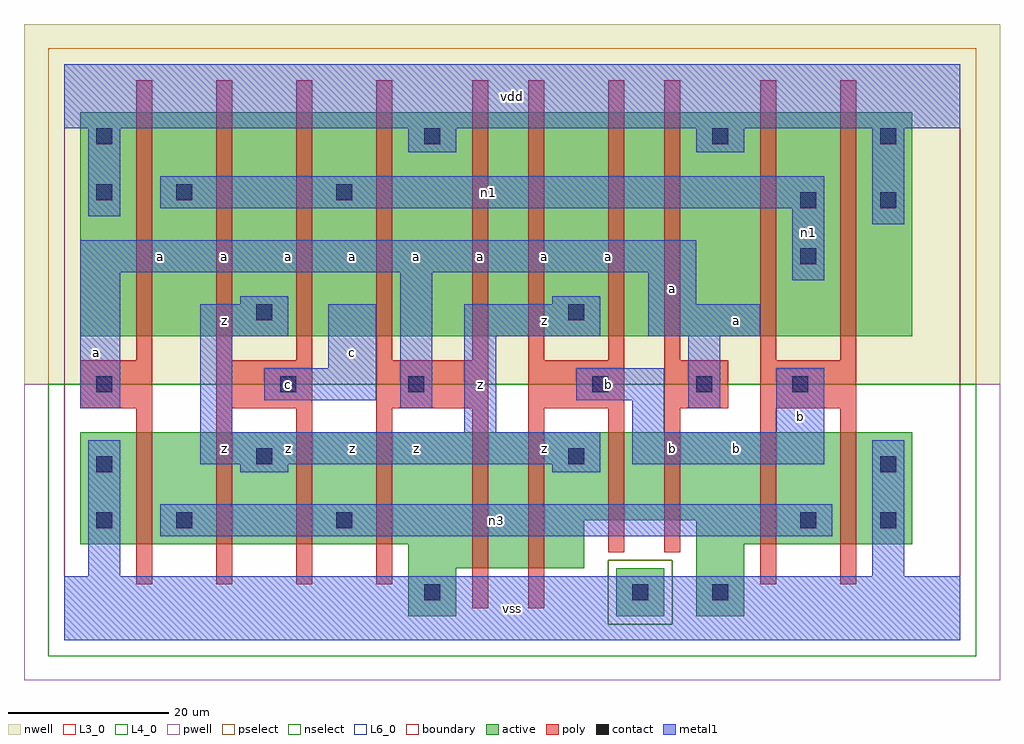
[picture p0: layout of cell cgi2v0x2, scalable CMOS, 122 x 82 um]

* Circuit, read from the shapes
.subckt cgi2v0x2 a b c n1 n3 vdd vss z
M1 n3 a vss vss nfet w=14u l=2u m=2
M2 z c n3 vss nfet w=14u l=2u m=2
M3 n2 a vss vss nfet w=17u l=2u
M4 z b n2 vss nfet w=17u l=2u
M5 n4 b z vss nfet w=11u l=2u
M6 vss a n4 vss nfet w=11u l=2u
M7 n3 b vss vss nfet w=14u l=2u m=2
M8 n1 a vdd n5 pfet w=28u l=2u m=2
M9 z c n1 n5 pfet w=28u l=2u m=2
M10 n6 a vdd n5 pfet w=28u l=2u
M11 z b n6 n5 pfet w=28u l=2u
M12 n7 b z n5 pfet w=28u l=2u
M13 vdd a n7 n5 pfet w=28u l=2u
M14 n1 b vdd n5 pfet w=28u l=2u m=2
.ends

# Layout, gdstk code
import gdstk
lib = gdstk.Library(unit=1e-6, precision=1e-09)
def R(c, l, rs):  # rectangles x0, y0, x1, y1
    for r in rs: c.add(gdstk.rectangle(r[:2], r[2:], *l))
def A(c, l, x, y, w, h, nx, ny, dx, dy):  # array of equal rectangles
    R(c, l, [(x+i*dx, y+j*dy, x+i*dx+w, y+j*dy+h) for i in range(nx) for j in range(ny)])
L3_0 = (3, 0)
L4_0 = (4, 0)
L6_0 = (6, 0)
contact = (25, 0)
pwell = (41, 0)
nwell = (42, 0)
active = (43, 0)
pselect = (44, 0)
nselect = (45, 0)
poly = (46, 0)
metal1 = (49, 0)
boundary = (63, 0)

cgi2v0x2 = lib.new_cell('cgi2v0x2')
R(cgi2v0x2, L3_0, [(43,3,49,9), (79,3,85,12), (43,9,65,12), (2,12,65,15), (79,12,106,15), (2,15,106,26)])
R(cgi2v0x2, L4_0, [(2,38,106,66)])
R(cgi2v0x2, L6_0, [(69,3,75,9)])
R(cgi2v0x2, contact, [(45,5,47,7), (71,5,73,7), (81,5,83,7), (4,14,6,16), (14,14,16,16), (34,14,36,16), (92,14,94,16), (102,14,104,16), (4,21,6,23), (102,21,104,23), (24,22,26,24), (63,22,65,24), (4,31,6,33), (27,31,29,33), (43,31,45,33), (66,31,68,33), (79,31,81,33), (91,31,93,33), (24,40,26,42), (63,40,65,42), (92,47,94,49), (92,54,94,56), (102,54,104,56), (4,55,6,57), (14,55,16,57), (34,55,36,57), (4,62,6,64), (45,62,47,64), (81,62,83,64), (102,62,104,64)])
R(cgi2v0x2, pwell, [(-5,-5,117,32)])
R(cgi2v0x2, nwell, [(-5,32,117,77)])
R(cgi2v0x2, active, [(43,3,49,9), (69,3,75,9), (79,3,85,12), (43,9,65,12), (2,12,65,15), (79,12,106,15), (2,15,106,26), (2,38,106,66)])
R(cgi2v0x2, pselect, [(68,2,76,10), (-2,32,114,74)])
R(cgi2v0x2, nselect, [(-2,-2,114,2), (-2,2,68,10), (76,2,114,10), (-2,10,114,32)])
A(cgi2v0x2, poly, 9, 7, 2, 22, 4, 1, 10, 0)
A(cgi2v0x2, poly, 9, 35, 2, 35, 4, 1, 10, 0)
R(cgi2v0x2, poly, [(51,4,53,29), (58,4,60,29), (87,7,89,29), (97,7,99,29), (68,11,70,29), (75,11,77,29), (2,29,11,35), (19,29,31,35), (39,29,53,35), (58,29,70,35), (75,29,83,35), (87,29,99,35), (51,35,53,70), (58,35,60,70), (68,35,70,70), (75,35,77,70), (87,35,89,70), (97,35,99,70)])
R(cgi2v0x2, metal1, [(0,0,112,8), (3,8,7,25), (101,8,105,25), (12,13,96,17), (22,21,28,22), (61,21,67,22), (17,22,67,26), (71,22,95,26), (17,26,21,38), (50,26,54,38), (71,26,75,30), (89,26,95,34), (2,29,7,46), (42,29,46,46), (78,29,82,38), (25,30,39,34), (64,30,75,34), (33,34,39,42), (17,38,28,42), (50,38,67,42), (73,38,87,42), (22,42,28,43), (61,42,67,43), (73,42,79,46), (91,45,95,54), (2,46,79,50), (101,52,105,64), (3,53,7,64), (12,54,95,58), (43,61,49,64), (79,61,85,64), (0,64,112,72)])
R(cgi2v0x2, boundary, [(0,0,112,72)])
cgi2v0x2.add(gdstk.Label('n3', (54,15), layer=49, texttype=0))
cgi2v0x2.add(gdstk.Label('n1', (93,51), layer=49, texttype=0))
cgi2v0x2.add(gdstk.Label('n1', (53,56), layer=49, texttype=0))
cgi2v0x2.add(gdstk.Label('a', (4,36), layer=49, texttype=0))
cgi2v0x2.add(gdstk.Label('a', (12,48), layer=49, texttype=0))
cgi2v0x2.add(gdstk.Label('z', (20,24), layer=49, texttype=0))
cgi2v0x2.add(gdstk.Label('z', (36,24), layer=49, texttype=0))
cgi2v0x2.add(gdstk.Label('z', (28,24), layer=49, texttype=0))
cgi2v0x2.add(gdstk.Label('c', (28,32), layer=49, texttype=0))
cgi2v0x2.add(gdstk.Label('z', (20,40), layer=49, texttype=0))
cgi2v0x2.add(gdstk.Label('c', (36,36), layer=49, texttype=0))
cgi2v0x2.add(gdstk.Label('a', (20,48), layer=49, texttype=0))
cgi2v0x2.add(gdstk.Label('a', (36,48), layer=49, texttype=0))
cgi2v0x2.add(gdstk.Label('a', (28,48), layer=49, texttype=0))
cgi2v0x2.add(gdstk.Label('vss', (56,4), layer=49, texttype=0))
cgi2v0x2.add(gdstk.Label('z', (44,24), layer=49, texttype=0))
cgi2v0x2.add(gdstk.Label('z', (60,24), layer=49, texttype=0))
cgi2v0x2.add(gdstk.Label('z', (52,32), layer=49, texttype=0))
cgi2v0x2.add(gdstk.Label('z', (60,40), layer=49, texttype=0))
cgi2v0x2.add(gdstk.Label('a', (44,48), layer=49, texttype=0))
cgi2v0x2.add(gdstk.Label('a', (60,48), layer=49, texttype=0))
cgi2v0x2.add(gdstk.Label('a', (52,48), layer=49, texttype=0))
cgi2v0x2.add(gdstk.Label('vdd', (56,68), layer=49, texttype=0))
cgi2v0x2.add(gdstk.Label('b', (84,24), layer=49, texttype=0))
cgi2v0x2.add(gdstk.Label('b', (76,24), layer=49, texttype=0))
cgi2v0x2.add(gdstk.Label('b', (68,32), layer=49, texttype=0))
cgi2v0x2.add(gdstk.Label('a', (84,40), layer=49, texttype=0))
cgi2v0x2.add(gdstk.Label('a', (76,44), layer=49, texttype=0))
cgi2v0x2.add(gdstk.Label('a', (68,48), layer=49, texttype=0))
cgi2v0x2.add(gdstk.Label('b', (92,28), layer=49, texttype=0))

lib.write_gds('cgi2v0x2.gds')
